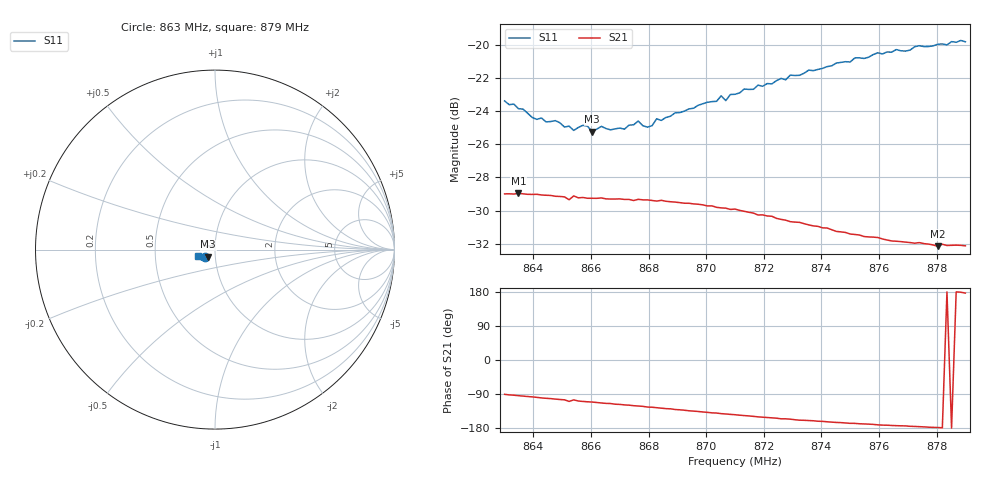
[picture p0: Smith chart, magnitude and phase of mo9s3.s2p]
# HZ S RI R 50
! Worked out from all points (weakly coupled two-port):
!   101 points, 863 MHz to 879 MHz, reference 50 ohm
!   highest |S21| = -28.96 dB at 863.48 MHz (marker M1); lowest = -32.1 dB at 878.04 MHz (marker M2)
!   lowest |S11| = -25.2 dB at 866.04 MHz (marker M3), VSWR 1.12, Z = 46.2 - j3.68 ohm
!   |S11| at or under -10 dB: start of sweep to end of sweep
!   S12 and S22 are empty: the file has one direction only
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8.63e8  -0.0541 -0.0406  -0.000348 -0.0355  0 0  0 0
8.6348e8  -0.0508 -0.0391  -0.00257 -0.0356  0 0  0 0
8.6412e8  -0.046 -0.0378  -0.00528 -0.035  0 0  0 0
8.6524e8  -0.0421 -0.0382  -0.0112 -0.0322  0 0  0 0
8.654e8  -0.0392 -0.0388  -0.00919 -0.0338  0 0  0 0
8.6572e8  -0.0392 -0.0415  -0.0115 -0.0327  0 0  0 0
8.6604e8  -0.0376 -0.0397  -0.0123 -0.0322  0 0  0 0
8.6636e8  -0.0382 -0.0419  -0.0137 -0.0317  0 0  0 0
8.6716e8  -0.0351 -0.0431  -0.0163 -0.0301  0 0  0 0
8.6764e8  -0.0352 -0.0471  -0.0178 -0.0292  0 0  0 0
8.6796e8  -0.0332 -0.0456  -0.0191 -0.0282  0 0  0 0
8.6828e8  -0.0348 -0.0486  -0.0198 -0.0274  0 0  0 0
8.6844e8  -0.0335 -0.0487  -0.0205 -0.0271  0 0  0 0
8.7036e8  -0.0375 -0.0561  -0.0248 -0.0208  0 0  0 0
8.7052e8  -0.0402 -0.0574  -0.0252 -0.0201  0 0  0 0
8.7068e8  -0.0386 -0.0558  -0.0255 -0.0196  0 0  0 0
8.7084e8  -0.0414 -0.0573  -0.0256 -0.019  0 0  0 0
8.71e8  -0.0403 -0.0582  -0.026 -0.0186  0 0  0 0
8.7372e8  -0.055 -0.0627  -0.0268 -0.00957  0 0  0 0
8.7644e8  -0.0767 -0.0558  -0.0254 -0.00321  0 0  0 0
8.7804e8  -0.089 -0.046  -0.0247 -0.000837  0 0  0 0
8.79e8  -0.0948 -0.0375  -0.0247 0.00149  0 0  0 0
